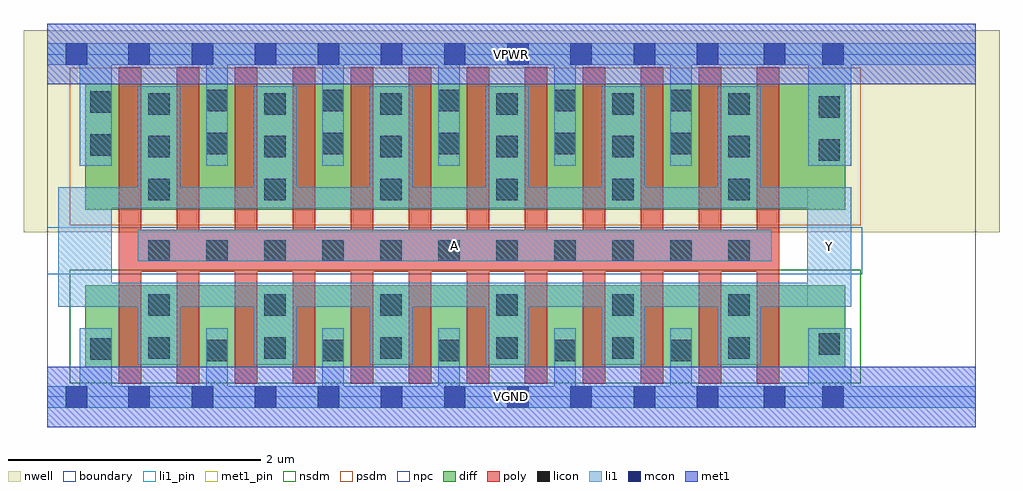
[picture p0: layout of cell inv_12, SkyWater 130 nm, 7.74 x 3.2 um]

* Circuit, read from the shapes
.subckt inv_12 A VGND VPWR Y
XM1 Y A VGND VSUBS sky130_fd_pr__nfet_01v8 w=0.65 l=0.18 m=12
XM2 Y A VPWR n1 sky130_fd_pr__pfet_01v8 w=1 l=0.18 m=12
.ends

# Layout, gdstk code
import gdstk
lib = gdstk.Library(unit=1e-6, precision=1e-09)
def R(c, l, rs):  # rectangles x0, y0, x1, y1
    for r in rs: c.add(gdstk.rectangle(r[:2], r[2:], *l))
def A(c, l, x, y, w, h, nx, ny, dx, dy):  # array of equal rectangles
    R(c, l, [(x+i*dx, y+j*dy, x+i*dx+w, y+j*dy+h) for i in range(nx) for j in range(ny)])
nwell = (64, 20)
diff = (65, 20)
poly = (66, 20)
licon = (66, 44)
li1_pin = (67, 16)
li1 = (67, 20)
mcon = (67, 44)
met1_pin = (68, 16)
met1 = (68, 20)
nsdm = (93, 44)
psdm = (94, 20)
npc = (95, 20)
boundary = (235, 4)

inv_12 = lib.new_cell('inv_12')
R(inv_12, nwell, [(-0.19,1.305,7.55,2.91), (0,1.305,7.36,2.91)])
R(inv_12, diff, [(0.3,0.235,6.325,0.885), (0.3,1.485,6.325,2.485)])
A(inv_12, poly, 0.565, 0.105, 0.18, 2.51, 12, 1, 0.46, 0)
R(inv_12, poly, [(0.565,0.995,5.805,1.325)])
A(inv_12, licon, 1.26, 0.285, 0.17, 0.17, 5, 2, 0.92, 1.64)
A(inv_12, licon, 0.8, 0.305, 0.17, 0.17, 6, 2, 0.92, 0.34)
A(inv_12, licon, 0.8, 1.075, 0.17, 0.17, 11, 1, 0.46, 0)
A(inv_12, licon, 0.8, 1.56, 0.17, 0.17, 6, 3, 0.92, 0.34)
A(inv_12, licon, 1.26, 2.265, 0.17, 0.17, 5, 1, 0.92, 0)
R(inv_12, licon, [(0.34,0.295,0.51,0.465), (6.115,0.335,6.285,0.505), (6.115,1.875,6.285,2.045), (0.34,1.915,0.51,2.085), (6.115,2.215,6.285,2.385), (0.34,2.255,0.51,2.425)])
R(inv_12, li1_pin, [(6.025,0.715,6.375,1.665), (0.715,1.075,5.745,1.325)])
A(inv_12, li1, 1.26, -0.085, 0.17, 0.63, 5, 1, 0.92, 0)
A(inv_12, li1, 0.715, 0.255, 0.34, 0.65, 6, 1, 0.92, 0)
A(inv_12, li1, 0.715, 1.495, 0.34, 0.97, 6, 1, 0.92, 0)
A(inv_12, li1, 1.26, 1.835, 0.17, 0.97, 5, 1, 0.92, 0)
R(inv_12, li1, [(0,-0.085,7.36,0.085), (0.255,-0.085,0.51,0.545), (6.035,-0.085,6.375,0.545), (0.085,0.715,6.375,0.905), (0.085,0.715,0.51,1.665), (6.025,0.715,6.375,1.665), (0.715,1.075,5.745,1.325), (0.085,1.495,6.375,1.665), (0.255,1.835,0.51,2.805), (6.035,1.835,6.375,2.805), (0,2.635,7.36,2.805)])
A(inv_12, mcon, 1.145, -0.085, 0.17, 0.17, 7, 2, 0.5, 2.72)
R(inv_12, mcon, [(0.145,-0.085,0.315,0.085), (0.64,-0.085,0.81,0.085), (4.65,-0.085,4.82,0.085), (5.15,-0.085,5.32,0.085), (5.68,-0.085,5.85,0.085), (6.145,-0.085,6.315,0.085), (0.145,2.635,0.315,2.805), (0.64,2.635,0.81,2.805), (4.65,2.635,4.82,2.805), (5.15,2.635,5.32,2.805), (5.68,2.635,5.85,2.805), (6.145,2.635,6.315,2.805)])
R(inv_12, met1_pin, [(0,-0.24,7.36,0.24), (0,2.48,7.36,2.96)])
R(inv_12, met1, [(0,-0.24,7.36,0.24), (0,2.48,7.36,2.96)])
R(inv_12, nsdm, [(0.175,0.11,6.45,1.01)])
R(inv_12, psdm, [(0.175,1.36,6.45,2.61)])
R(inv_12, npc, [(0,0.975,6.46,1.345)])
R(inv_12, boundary, [(0,0,7.36,2.72)])
inv_12.add(gdstk.Label('A', (3.23,1.2), layer=67, texttype=5))
inv_12.add(gdstk.Label('Y', (6.2,1.19), layer=67, texttype=5))
inv_12.add(gdstk.Label('VPWR', (3.68,2.72), layer=68, texttype=5))
inv_12.add(gdstk.Label('VGND', (3.68,0), layer=68, texttype=5))
inv_12.add(gdstk.Label('A', (3.23,1.2), layer=67, texttype=16))
inv_12.add(gdstk.Label('Y', (6.2,1.19), layer=67, texttype=16))
inv_12.add(gdstk.Label('VPWR', (3.68,2.72), layer=68, texttype=16))
inv_12.add(gdstk.Label('VGND', (3.68,0), layer=68, texttype=16))

lib.write_gds('inv_12.gds')
